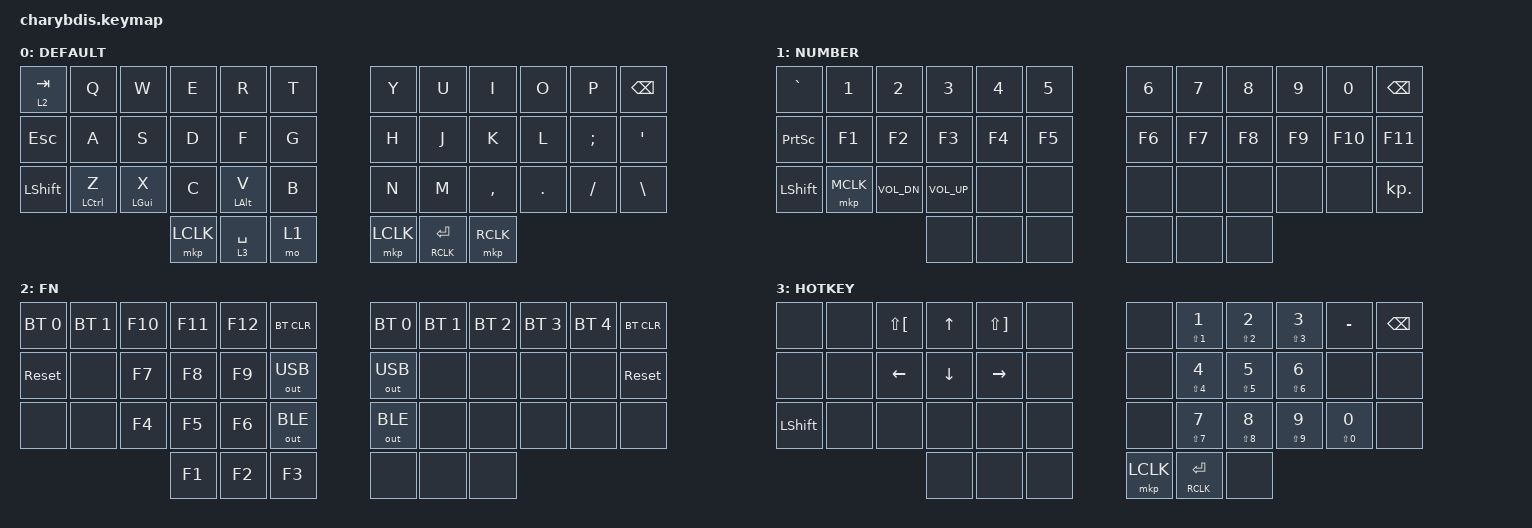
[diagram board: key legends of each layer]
#include <behaviors.dtsi>
#include <dt-bindings/zmk/mouse.h>
#include <dt-bindings/zmk/bt.h>
#include <dt-bindings/zmk/keys.h>
#include <dt-bindings/zmk/outputs.h>

#define DEFAULT 0
#define NUMBER  1
#define FN  2
#define HOTKEY  3

/ {
    behaviors {
        ht: hold_tap {
            compatible = "zmk,behavior-hold-tap";
            #binding-cells = <2>;
            tapping-term-ms = <150>;
            flavor = "tap-preferred";
            bindings = <&kp>, <&kp>;
        };

        htm: hold_tap-modifier {
            compatible = "zmk,behavior-hold-tap";
            #binding-cells = <2>;
            tapping-term-ms = <200>;
            flavor = "tap-preferred";
            bindings = <&kp>, <&kp>;
        };

        hmt: hold_mouse_tap {
            compatible = "zmk,behavior-hold-tap";
            #binding-cells = <2>;
            tapping-term-ms = <150>;
            flavor = "tap-preferred";
            bindings = <&mkp>, <&kp>;
        };
    };

    combos {
        compatible = "zmk,combos";

        combo_lbrc {
            timeout-ms = <50>;
            key-positions = <4 5>; // KP: VB
            bindings = <&mt RBRC LBRC>;
            layers = <0 1 2 3 4 5>;
        };

        combo_rbrc {
            timeout-ms = <50>;
            key-positions = <6 7>; // KP: NM
            bindings = <&kp RBRC>;
            layers = <0 1 2 3 4 5>;
        };

        combo_lpar {
            timeout-ms = <50>;
            key-positions = <16 17>; // KP: FG
            bindings = <&mt RPAR LPAR>;
            layers = <0 1 2 3 4 5>;
        };

        combo_rpar {
            timeout-ms = <50>;
            key-positions = <18 19>;
            bindings = <&kp RPAR>;
            layers = <0 1 2 3 4 5>;
        };

        combo_lbkt {
            timeout-ms = <50>;
            key-positions = <28 29>; // KP: RT
            bindings = <&mt RBKT LBKT>;  // 可以用CMD+这个单手返回到代码上一个编辑的地方 或者网页返回
            layers = <0 1 2 3 4 5>;
        };

        combo_rbkt {
            timeout-ms = <50>;
            key-positions = <30 31>; // KP: YU
            bindings = <&kp RBKT>;
            layers = <0 1 2 3 4 5>;
        };

        capslock {
            timeout-ms = <50>;
            key-positions = <0 1>;
            bindings = <&kp CAPSLOCK>; // caps
            layers = <0>;
        };

        equal {
            timeout-ms = <50>;
            key-positions = <8 9>;
            bindings = <&kp EQUAL>;
            layers = <0>;
        };

        minus {
            timeout-ms = <50>;
            key-positions = <7 8>;
            bindings = <&kp MINUS>;
            layers = <0>;
        };
    };

    keymap {
        compatible = "zmk,keymap";

        default_layer {
            label = "DEFAULT";
            bindings = <
            // &lt 2 TAB   &ht N1 Q  &ht N2 W       &ht N3 E   &ht N4 R      &ht N5 T                           &ht N6 Y          &ht N7 U      &ht N8 I      &ht N9 O      &ht N0 P     &kp BACKSPACE
            &lt 2 TAB   &kp Q  &kp W       &kp E   &kp R      &kp T                           &kp Y          &kp U      &kp I      &kp O      &kp P     &kp BACKSPACE
            &kp ESC     &kp A  &kp S       &kp D         &kp F      &kp G                           &kp H          &kp J      &kp K      &kp L      &kp SEMI  &kp SQT
            &kp LSHFT   &htm LCTRL Z    &htm LGUI X       &kp C    &htm LALT V      &kp B              &kp N          &kp M      &kp COMMA  &kp DOT    &kp FSLH  &kp BSLH
                                                    &mkp LCLK  &lt 3 SPACE &mo 1                    &mkp LCLK &hmt RCLK ENTER    &mkp RCLK

            >;
        };

        number_layer {
            label = "NUMBER";
            bindings = <
            &kp GRAVE     &kp N1         &kp N2        &kp N3         &kp N4      &kp N5      &kp N6  &kp N7   &kp N8   &kp N9    &kp N0    &kp BACKSPACE
            &kp PSCRN     &kp F1         &kp F2        &kp F3         &kp F4      &kp F5      &kp F6  &kp F7   &kp F8   &kp F9    &kp F10   &kp F11
            &kp LSHFT     &mkp MCLK      &kp C_VOL_DN  &kp C_VOL_UP   &none       &none       &none   &none    &none    &none     &none     &kp KP_DOT
                                         &none         &none          &none       &none       &none   &none

            >;
        };

        fn_layer {
            label = "FN";
            bindings = <
            &bt BT_SEL 0  &bt BT_SEL 1  &kp F10  &kp F11  &kp F12  &bt BT_CLR       &bt BT_SEL 0  &bt BT_SEL 1  &bt BT_SEL 2  &bt BT_SEL 3  &bt BT_SEL 4  &bt BT_CLR
            &sys_reset    &none         &kp F7   &kp F8   &kp F9   &out OUT_USB     &out OUT_USB  &none         &none         &none         &none         &sys_reset
            &none         &none         &kp F4   &kp F5   &kp F6   &out OUT_BLE     &out OUT_BLE  &none         &none         &none         &none         &none
                                                 &kp F1   &kp F2   &kp F3           &none         &none         &none

            >;

        };

        hotkey_layer {
            label = "HOTKEY";
            bindings = <
            &none  &none    &kp LS(LBKT)     &kp UP    &kp LS(RBKT)  &none       &none   &ht LS(N1) N1 &ht LS(N2) N2  &ht LS(N3) N3    &kp MINUS  &kp BACKSPACE
            &none  &none    &kp LEFT  &kp DOWN  &kp RIGHT    &none         &none  &ht LS(N4) N4  &ht LS(N5) N5  &ht LS(N6) N6    &none  &none
            &kp LSHFT &none    &none     &none     &none        &none         &none  &ht LS(N7) N7 &ht LS(N8) N8  &ht LS(N9) N9   &ht LS(N0) N0  &none
                                      &none     &none        &none          &mkp LCLK &hmt RCLK ENTER    &none
            >;
        };

    };
};
